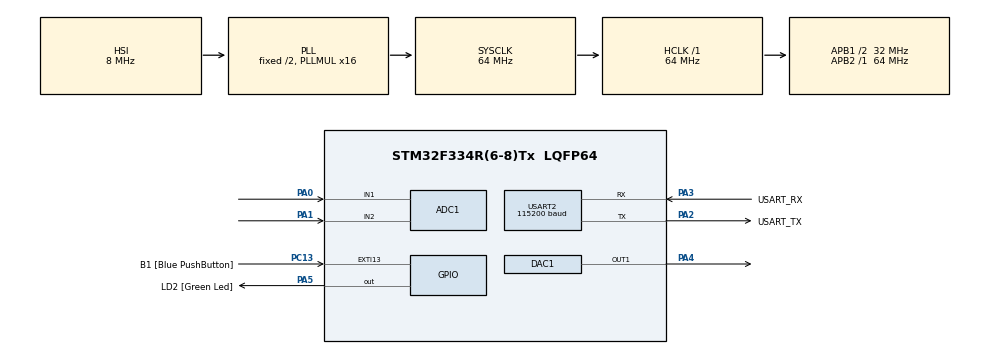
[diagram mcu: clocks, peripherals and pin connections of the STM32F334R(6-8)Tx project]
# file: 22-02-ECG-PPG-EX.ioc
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ADC1.Channel-0\#ChannelRegularConversion=ADC_CHANNEL_1
ADC1.Channel-1\#ChannelRegularConversion=ADC_CHANNEL_2
ADC1.DMAContinuousRequests=ENABLE
ADC1.ExternalTrigConv=ADC_EXTERNALTRIGCONV_T3_TRGO
ADC1.NbrOfConversion=2
ADC1.NbrOfConversionFlag=1
ADC1.Offset-0\#ChannelRegularConversion=0
ADC1.Offset-1\#ChannelRegularConversion=0
ADC1.OffsetNumber-0\#ChannelRegularConversion=ADC_OFFSET_NONE
ADC1.OffsetNumber-1\#ChannelRegularConversion=ADC_OFFSET_NONE
ADC1.Rank-0\#ChannelRegularConversion=1
ADC1.Rank-1\#ChannelRegularConversion=2
ADC1.SamplingTime-0\#ChannelRegularConversion=ADC_SAMPLETIME_19CYCLES_5
ADC1.SamplingTime-1\#ChannelRegularConversion=ADC_SAMPLETIME_19CYCLES_5
ADC1.master=1
Dma.ADC1.0.Direction=DMA_PERIPH_TO_MEMORY
Dma.ADC1.0.Instance=DMA1_Channel1
Dma.ADC1.0.MemDataAlignment=DMA_MDATAALIGN_HALFWORD
Dma.ADC1.0.MemInc=DMA_MINC_ENABLE
Dma.ADC1.0.Mode=DMA_CIRCULAR
Dma.ADC1.0.PeriphDataAlignment=DMA_PDATAALIGN_HALFWORD
Dma.ADC1.0.PeriphInc=DMA_PINC_DISABLE
Dma.ADC1.0.Priority=DMA_PRIORITY_LOW
Dma.Request0=ADC1
Mcu.Family=STM32F3
Mcu.Name=STM32F334R(6-8)Tx
Mcu.Package=LQFP64
NVIC.ADC1_2_IRQn=true\:0\:0\:false\:false\:true\:true\:true\:true
NVIC.DMA1_Channel1_IRQn=true\:0\:0\:false\:false\:true\:false\:true\:true
NVIC.PriorityGroup=NVIC_PRIORITYGROUP_0
PA0.Mode=IN1-Single-Ended
PA0.Signal=ADC1_IN1
PA1.Mode=IN2-Single-Ended
PA1.Signal=ADC1_IN2
PA13.GPIO_Label=TMS
PA13.Mode=Serial_Wire
PA13.Signal=SYS_JTMS-SWDIO
PA14.GPIO_Label=TCK
PA14.Mode=Serial_Wire
PA14.Signal=SYS_JTCK-SWCLK
PA2.GPIO_Label=USART_TX
PA2.Mode=Asynchronous
PA2.Signal=USART2_TX
PA3.GPIO_Label=USART_RX
PA3.Mode=Asynchronous
PA3.Signal=USART2_RX
PA4.Signal=COMP_DAC11_group
PA5.GPIO_Label=LD2 [Green Led]
PA5.Signal=GPIO_Output
PB3.GPIO_Label=SWO
PB3.Signal=SYS_JTDO-TRACESWO
PC13.GPIO_Label=B1 [Blue PushButton]
PC13.GPIO_ModeDefaultEXTI=GPIO_MODE_IT_FALLING
PC13.Signal=GPXTI13
PC14\ /\ OSC32_IN.Signal=RCC_OSC32_IN
PC15\ /\ OSC32_OUT.GPIO_Label=RCC_OSC32_OUT
PC15\ /\ OSC32_OUT.Signal=RCC_OSC32_OUT
PF0\ /\ OSC_IN.Signal=RCC_OSC_IN
PF1\ /\ OSC_OUT.Signal=RCC_OSC_OUT
ProjectManager.HeapSize=0x200
ProjectManager.StackSize=0x400
ProjectManager.TargetToolchain=STM32CubeIDE
RCC.AHBFreq_Value=64000000
RCC.APB1CLKDivider=RCC_HCLK_DIV2
RCC.APB1Freq_Value=32000000
RCC.APB1TimFreq_Value=64000000
RCC.APB2Freq_Value=64000000
RCC.APB2TimFreq_Value=64000000
RCC.CortexFreq_Value=64000000
RCC.FLatency-AdvancedSettings=FLASH_LATENCY_2
RCC.HCLKFreq_Value=64000000
RCC.HSE_VALUE=8000000
RCC.HSI_VALUE=8000000
RCC.PLLMUL=RCC_PLL_MUL16
RCC.SYSCLKFreq_VALUE=64000000
RCC.SYSCLKSourceVirtual=RCC_SYSCLKSOURCE_PLLCLK
SH.COMP_DAC11_group.0=DAC1_OUT1,DAC_OUT1
TIM3.Period=19999
TIM3.Prescaler=63
TIM3.TIM_MasterOutputTrigger=TIM_TRGO_UPDATE
USART2.BaudRate=115200
USART2.VirtualMode-Asynchronous=VM_ASYNC
VP_TIM3_VS_ClockSourceINT.Mode=Internal
board=NUCLEO-F334R8

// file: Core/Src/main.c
/* USER CODE BEGIN Header */
/**
  ******************************************************************************
  * @file           : main.c
  * @brief          : Main program body
  ******************************************************************************
  * @attention
  *
  * Copyright (c) 2022 STMicroelectronics.
  * All rights reserved.
  *
  * This software is licensed under terms that can be found in the LICENSE file
  * in the root directory of this software component.
  * If no LICENSE file comes with this software, it is provided AS-IS.
  *
  ******************************************************************************
  */
/* USER CODE END Header */
#include "main.h"

/* USER CODE BEGIN Includes */

#include <stdio.h>

/* USER CODE END Includes */

ADC_HandleTypeDef hadc1;
DMA_HandleTypeDef hdma_adc1;

DAC_HandleTypeDef hdac1;

TIM_HandleTypeDef htim3;

UART_HandleTypeDef huart2;

/* USER CODE BEGIN PV */

uint16_t adcVal[2];  // Short Integer
uint8_t adFlag;		// Unsigned char

/* USER CODE END PV */

void SystemClock_Config(void);
static void MX_GPIO_Init(void);
static void MX_DMA_Init(void);
static void MX_USART2_UART_Init(void);
static void MX_ADC1_Init(void);
static void MX_TIM3_Init(void);
static void MX_DAC1_Init(void);

/* USER CODE BEGIN 0 */

/* USER CODE BEGIN 0 */

#ifdef __GNUC__
/* With GCC, small printf (option LD Linker->Libraries->Small printf
   set to 'Yes') calls __io_putchar() */
#define PUTCHAR_PROTOTYPE int __io_putchar(int ch)
#else
#define PUTCHAR_PROTOTYPE int fputc(int ch, FILE *f)
#endif /* __GNUC__ */

/**
  * @brief  Retargets the C library printf function to the USART.
  * @param  None
  * @retval None
  */
PUTCHAR_PROTOTYPE
{
  /* Place your implementation of fputc here */
  /* e.g. write a character to the USART1 and Loop until the end of transmission */
  if (ch == '\n')
    HAL_UART_Transmit (&huart2, (uint8_t*) "\r", 1, 0xFFFF);
  HAL_UART_Transmit (&huart2, (uint8_t*) &ch, 1, 0xFFFF);

  return ch;
}

/* USER CODE END 0 */

int main(void)
{

  /* MCU Configuration--------------------------------------------------------*/

  /* Reset of all peripherals, Initializes the Flash interface and the Systick. */
  HAL_Init();

  /* Configure the system clock */
  SystemClock_Config();

  /* Initialize all configured peripherals */
  MX_GPIO_Init();
  MX_DMA_Init();
  MX_USART2_UART_Init();
  MX_ADC1_Init();
  MX_TIM3_Init();
  MX_DAC1_Init();
  /* USER CODE BEGIN 2 */

  // Calibrate The ADC On Power-Up For Better Accuracy
  if( HAL_ADCEx_Calibration_Start(&hadc1, ADC_CHANNEL_1) != HAL_OK ){
           Error_Handler();
  }

  if( HAL_ADCEx_Calibration_Start(&hadc1, ADC_CHANNEL_2) != HAL_OK ){
             Error_Handler();
  }

  HAL_TIM_Base_Start(&htim3);
  HAL_ADC_Start_DMA(&hadc1, (uint32_t*)adcVal, 2);

  /* USER CODE END 2 */

  /* Infinite loop */
  /* USER CODE BEGIN WHILE */

  adFlag = 0;

  while (1)
  {
	  if(adFlag){
		  printf("%d, %d\n", adcVal[0], adcVal[1]);
		  adFlag=0;
	  }
    /* USER CODE END WHILE */

  }
}

void SystemClock_Config(void)
{
  RCC_OscInitTypeDef RCC_OscInitStruct = {0};
  RCC_ClkInitTypeDef RCC_ClkInitStruct = {0};
  RCC_PeriphCLKInitTypeDef PeriphClkInit = {0};

  /** Initializes the RCC Oscillators according to the specified parameters
  * in the RCC_OscInitTypeDef structure.
  */
  RCC_OscInitStruct.OscillatorType = RCC_OSCILLATORTYPE_HSI;
  RCC_OscInitStruct.HSIState = RCC_HSI_ON;
  RCC_OscInitStruct.HSICalibrationValue = RCC_HSICALIBRATION_DEFAULT;
  RCC_OscInitStruct.PLL.PLLState = RCC_PLL_ON;
  RCC_OscInitStruct.PLL.PLLSource = RCC_PLLSOURCE_HSI;
  RCC_OscInitStruct.PLL.PLLMUL = RCC_PLL_MUL16;
  if (HAL_RCC_OscConfig(&RCC_OscInitStruct) != HAL_OK)
  {
    Error_Handler();
  }

  /** Initializes the CPU, AHB and APB buses clocks
  */
  RCC_ClkInitStruct.ClockType = RCC_CLOCKTYPE_HCLK|RCC_CLOCKTYPE_SYSCLK
                              |RCC_CLOCKTYPE_PCLK1|RCC_CLOCKTYPE_PCLK2;
  RCC_ClkInitStruct.SYSCLKSource = RCC_SYSCLKSOURCE_PLLCLK;
  RCC_ClkInitStruct.AHBCLKDivider = RCC_SYSCLK_DIV1;
  RCC_ClkInitStruct.APB1CLKDivider = RCC_HCLK_DIV2;
  RCC_ClkInitStruct.APB2CLKDivider = RCC_HCLK_DIV1;

  if (HAL_RCC_ClockConfig(&RCC_ClkInitStruct, FLASH_LATENCY_2) != HAL_OK)
  {
    Error_Handler();
  }
  PeriphClkInit.PeriphClockSelection = RCC_PERIPHCLK_ADC12;
  PeriphClkInit.Adc12ClockSelection = RCC_ADC12PLLCLK_DIV1;
  if (HAL_RCCEx_PeriphCLKConfig(&PeriphClkInit) != HAL_OK)
  {
    Error_Handler();
  }
}

static void MX_ADC1_Init(void)
{

  ADC_MultiModeTypeDef multimode = {0};
  ADC_ChannelConfTypeDef sConfig = {0};

  /** Common config
  */
  hadc1.Instance = ADC1;
  hadc1.Init.ClockPrescaler = ADC_CLOCK_ASYNC_DIV1;
  hadc1.Init.Resolution = ADC_RESOLUTION_12B;
  hadc1.Init.ScanConvMode = ADC_SCAN_ENABLE;
  hadc1.Init.ContinuousConvMode = DISABLE;
  hadc1.Init.DiscontinuousConvMode = DISABLE;
  hadc1.Init.ExternalTrigConvEdge = ADC_EXTERNALTRIGCONVEDGE_RISING;
  hadc1.Init.ExternalTrigConv = ADC_EXTERNALTRIGCONV_T3_TRGO;
  hadc1.Init.DataAlign = ADC_DATAALIGN_RIGHT;
  hadc1.Init.NbrOfConversion = 2;
  hadc1.Init.DMAContinuousRequests = ENABLE;
  hadc1.Init.EOCSelection = ADC_EOC_SINGLE_CONV;
  hadc1.Init.LowPowerAutoWait = DISABLE;
  hadc1.Init.Overrun = ADC_OVR_DATA_OVERWRITTEN;
  if (HAL_ADC_Init(&hadc1) != HAL_OK)
  {
    Error_Handler();
  }

  /** Configure the ADC multi-mode
  */
  multimode.Mode = ADC_MODE_INDEPENDENT;
  if (HAL_ADCEx_MultiModeConfigChannel(&hadc1, &multimode) != HAL_OK)
  {
    Error_Handler();
  }

  /** Configure Regular Channel
  */
  sConfig.Channel = ADC_CHANNEL_1;
  sConfig.Rank = ADC_REGULAR_RANK_1;
  sConfig.SingleDiff = ADC_SINGLE_ENDED;
  sConfig.SamplingTime = ADC_SAMPLETIME_19CYCLES_5;
  sConfig.OffsetNumber = ADC_OFFSET_NONE;
  sConfig.Offset = 0;
  if (HAL_ADC_ConfigChannel(&hadc1, &sConfig) != HAL_OK)
  {
    Error_Handler();
  }

  /** Configure Regular Channel
  */
  sConfig.Channel = ADC_CHANNEL_2;
  sConfig.Rank = ADC_REGULAR_RANK_2;
  if (HAL_ADC_ConfigChannel(&hadc1, &sConfig) != HAL_OK)
  {
    Error_Handler();
  }

}

static void MX_DAC1_Init(void)
{

  DAC_ChannelConfTypeDef sConfig = {0};

  /** DAC Initialization
  */
  hdac1.Instance = DAC1;
  if (HAL_DAC_Init(&hdac1) != HAL_OK)
  {
    Error_Handler();
  }

  /** DAC channel OUT1 config
  */
  sConfig.DAC_Trigger = DAC_TRIGGER_NONE;
  sConfig.DAC_OutputBuffer = DAC_OUTPUTBUFFER_ENABLE;
  if (HAL_DAC_ConfigChannel(&hdac1, &sConfig, DAC_CHANNEL_1) != HAL_OK)
  {
    Error_Handler();
  }

}

static void MX_TIM3_Init(void)
{

  TIM_ClockConfigTypeDef sClockSourceConfig = {0};
  TIM_MasterConfigTypeDef sMasterConfig = {0};

  htim3.Instance = TIM3;
  htim3.Init.Prescaler = 63;
  htim3.Init.CounterMode = TIM_COUNTERMODE_UP;
  htim3.Init.Period = 19999;
  htim3.Init.ClockDivision = TIM_CLOCKDIVISION_DIV1;
  htim3.Init.AutoReloadPreload = TIM_AUTORELOAD_PRELOAD_DISABLE;
  if (HAL_TIM_Base_Init(&htim3) != HAL_OK)
  {
    Error_Handler();
  }
  sClockSourceConfig.ClockSource = TIM_CLOCKSOURCE_INTERNAL;
  if (HAL_TIM_ConfigClockSource(&htim3, &sClockSourceConfig) != HAL_OK)
  {
    Error_Handler();
  }
  sMasterConfig.MasterOutputTrigger = TIM_TRGO_UPDATE;
  sMasterConfig.MasterSlaveMode = TIM_MASTERSLAVEMODE_DISABLE;
  if (HAL_TIMEx_MasterConfigSynchronization(&htim3, &sMasterConfig) != HAL_OK)
  {
    Error_Handler();
  }

}

static void MX_USART2_UART_Init(void)
{

  huart2.Instance = USART2;
  huart2.Init.BaudRate = 115200;
  huart2.Init.WordLength = UART_WORDLENGTH_8B;
  huart2.Init.StopBits = UART_STOPBITS_1;
  huart2.Init.Parity = UART_PARITY_NONE;
  huart2.Init.Mode = UART_MODE_TX_RX;
  huart2.Init.HwFlowCtl = UART_HWCONTROL_NONE;
  huart2.Init.OverSampling = UART_OVERSAMPLING_16;
  huart2.Init.OneBitSampling = UART_ONE_BIT_SAMPLE_DISABLE;
  huart2.AdvancedInit.AdvFeatureInit = UART_ADVFEATURE_NO_INIT;
  if (HAL_UART_Init(&huart2) != HAL_OK)
  {
    Error_Handler();
  }

}

static void MX_DMA_Init(void)
{

  /* DMA controller clock enable */
  __HAL_RCC_DMA1_CLK_ENABLE();

  /* DMA interrupt init */
  /* DMA1_Channel1_IRQn interrupt configuration */
  HAL_NVIC_SetPriority(DMA1_Channel1_IRQn, 0, 0);
  HAL_NVIC_EnableIRQ(DMA1_Channel1_IRQn);

}

static void MX_GPIO_Init(void)
{
  GPIO_InitTypeDef GPIO_InitStruct = {0};

  /* GPIO Ports Clock Enable */
  __HAL_RCC_GPIOC_CLK_ENABLE();
  __HAL_RCC_GPIOF_CLK_ENABLE();
  __HAL_RCC_GPIOA_CLK_ENABLE();
  __HAL_RCC_GPIOB_CLK_ENABLE();

  /*Configure GPIO pin Output Level */
  HAL_GPIO_WritePin(LD2_GPIO_Port, LD2_Pin, GPIO_PIN_RESET);

  /*Configure GPIO pin : B1_Pin */
  GPIO_InitStruct.Pin = B1_Pin;
  GPIO_InitStruct.Mode = GPIO_MODE_IT_FALLING;
  GPIO_InitStruct.Pull = GPIO_NOPULL;
  HAL_GPIO_Init(B1_GPIO_Port, &GPIO_InitStruct);

  /*Configure GPIO pin : LD2_Pin */
  GPIO_InitStruct.Pin = LD2_Pin;
  GPIO_InitStruct.Mode = GPIO_MODE_OUTPUT_PP;
  GPIO_InitStruct.Pull = GPIO_NOPULL;
  GPIO_InitStruct.Speed = GPIO_SPEED_FREQ_LOW;
  HAL_GPIO_Init(LD2_GPIO_Port, &GPIO_InitStruct);

}

/* USER CODE BEGIN 4 */

void HAL_ADC_ConvCpltCallback(ADC_HandleTypeDef* hadc) {

	adFlag = 1;
}

/* USER CODE END 4 */

void Error_Handler(void)
{
  __disable_irq();
  while (1)
  {
  }
}
